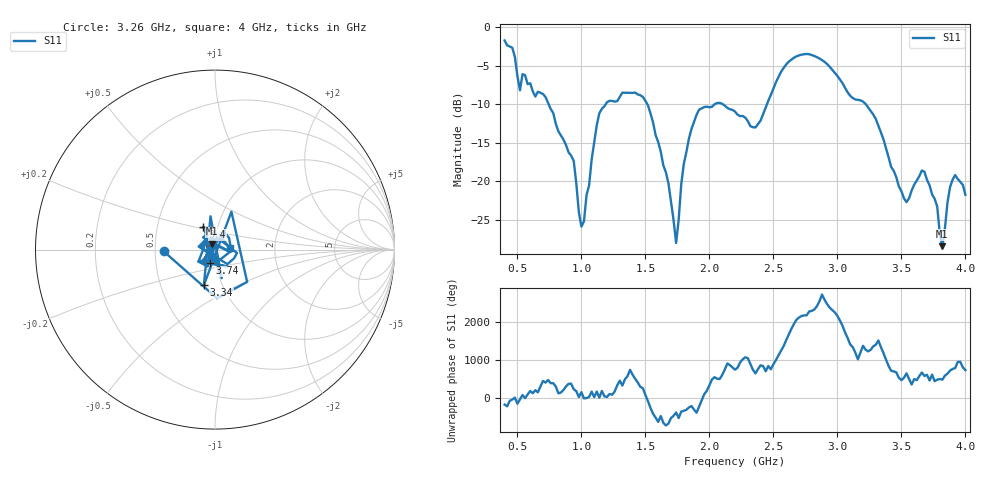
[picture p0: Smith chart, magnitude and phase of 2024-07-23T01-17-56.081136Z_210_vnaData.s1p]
!Created with skrf (http://scikit-rf.org).
# Hz S RI R 50.0
!freq ReS11 ImS11
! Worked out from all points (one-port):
!   181 points, 400 MHz to 4 GHz, reference 50 ohm
!   lowest |S11| = -28.4 dB at 3.82 GHz (marker M1), VSWR 1.08, Z = 48.2 + j3.23 ohm
!   |S11| at or under -10 dB: 744.6 MHz to 1.189 GHz (444.7 MHz wide, 46 % of centre); 1.516 GHz to 2.039 GHz (523.4 MHz wide, 29.4 % of centre); 3.223 GHz to end of sweep (the widest 3 of 4)
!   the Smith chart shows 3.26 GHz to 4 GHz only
!   S11 on the Smith chart (normalised r, x): 3.26 GHz: 0.55, -0.01; 3.34 GHz: 0.82, -0.34; 3.4 GHz: 0.85, +0.22; 3.74 GHz: 0.93, -0.14; 4 GHz: 1.18, +0.03
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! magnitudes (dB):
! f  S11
! 400 MHz  -1.7
! 460 MHz  -2.6
! 520 MHz  -8.2
! 700 MHz  -8.7
! 860 MHz  -14.6
! 940 MHz  -17.4
! 1 GHz  -25.9
! 1.14 GHz  -11.2
! 1.3 GHz  -9.0
! 1.52 GHz  -10.1
! 1.68 GHz  -20.3
! 1.74 GHz  -28.0
! 1.76 GHz  -25.0
! 1.8 GHz  -17.8
! 1.92 GHz  -10.7
! 2.2 GHz  -10.9
! 2.36 GHz  -13.0
! 2.66 GHz  -3.9
! 3.1 GHz  -8.9
! 3.26 GHz  -10.9
! 3.34 GHz  -13.6
! 3.4 GHz  -16.9
! 3.56 GHz  -22.2
! 3.66 GHz  -18.6
! 3.74 GHz  -21.7
! 3.82 GHz  -28.4
! 3.9 GHz  -19.8
! 4 GHz  -21.8
